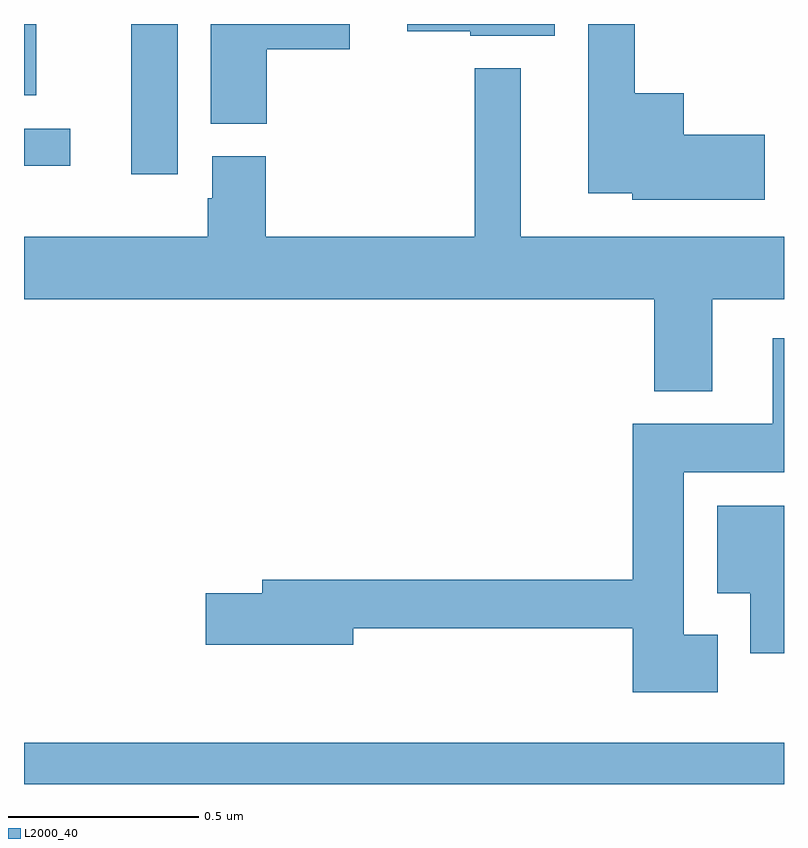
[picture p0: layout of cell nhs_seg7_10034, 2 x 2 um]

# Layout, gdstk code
import gdstk
lib = gdstk.Library(unit=1e-6, precision=1e-09)
def R(c, l, rs):  # rectangles x0, y0, x1, y1
    for r in rs: c.add(gdstk.rectangle(r[:2], r[2:], *l))
def P(c, l, *ps):  # polygons
    for p in ps: c.add(gdstk.Polygon(p, *l))
L2000_40 = (2000, 40)

nhs_seg7_10034 = lib.new_cell('nhs_seg7_10034')
R(nhs_seg7_10034, L2000_40, [(245,1006,247,1006.108), (245.282,1007.604,245.404,1008), (245,1007.627,245.122,1007.724), (245,1007.813,245.032,1008)])
P(nhs_seg7_10034, L2000_40, [(246.397,1008),(246.009,1008),(246.009,1007.981),(246.174,1007.981),(246.174,1007.969),(246.397,1007.969)],
  [(246.949,1007.708),(246.736,1007.708),(246.736,1007.818),(246.607,1007.818),(246.607,1008),(246.485,1008),(246.485,1007.555),(246.6,1007.555),(246.6,1007.537),(246.949,1007.537)],
  [(245.639,1007.933),(245.857,1007.933),(245.857,1008),(245.492,1008),(245.492,1007.737),(245.639,1007.737)],
  [(246.811,1007.276),(247,1007.276),(247,1007.44),(246.307,1007.44),(246.307,1007.884),(246.186,1007.884),(246.186,1007.44),(245.636,1007.44),(245.636,1007.652),(245.495,1007.652),(245.495,1007.541),(245.483,1007.541),(245.483,1007.44),(245,1007.44),(245,1007.276),(246.659,1007.276),(246.659,1007.033),(246.811,1007.033)],
  [(246.826,1006.393),(246.736,1006.393),(246.736,1006.82),(247,1006.82),(247,1007.173),(246.971,1007.173),(246.971,1006.948),(246.602,1006.948),(246.602,1006.538),(245.627,1006.538),(245.627,1006.502),(245.478,1006.502),(245.478,1006.367),(245.866,1006.367),(245.866,1006.41),(246.602,1006.41),(246.602,1006.241),(246.826,1006.241)],
  [(247,1006.732),(246.824,1006.732),(246.824,1006.502),(246.911,1006.502),(246.911,1006.344),(247,1006.344)])

lib.write_gds('nhs_seg7_10034.gds')
